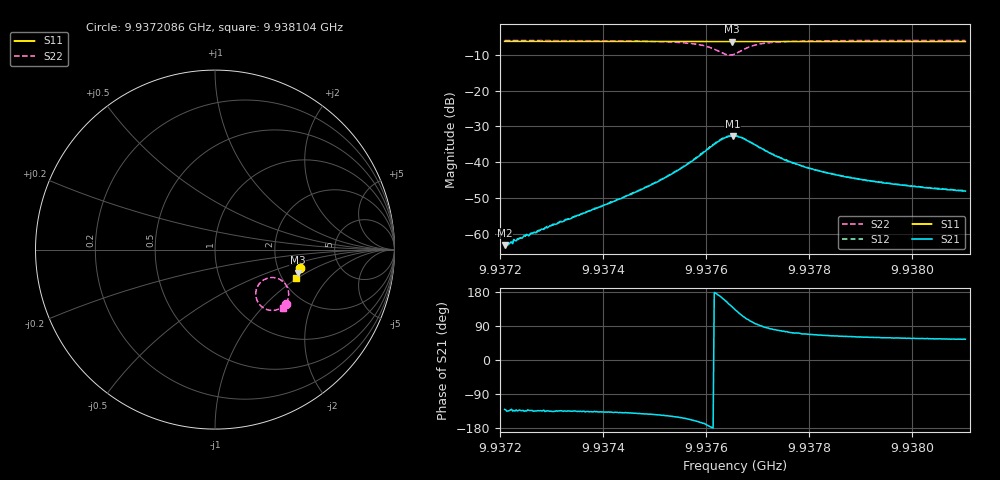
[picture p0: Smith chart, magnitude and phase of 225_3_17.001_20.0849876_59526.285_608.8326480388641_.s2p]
#  HZ  S  RI  R  50.00
! Rohde & Schwarz Vector Network Analyzer
! Rohde-Schwarz,ZNB20-2Port,1311601062101988,3.16
! Created: UTC 3/20/2024, 11:02:09 PM
! freq[Hz]  re:S11  im:S11  re:S21  im:S21  re:S12  im:S12  re:S22  im:S22
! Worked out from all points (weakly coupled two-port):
!   401 points, 9.9372086 GHz to 9.938104 GHz, reference 50 ohm
!   highest |S21| = -32.62 dB at 9.9376518 GHz (marker M1); lowest = -63.0 dB at 9.9372086 GHz (marker M2)
!   lowest |S11| = -6.4 dB at 9.9376496 GHz (marker M3), VSWR 2.84, Z = 126 - j41.9 ohm
!   |S11| at or under -10 dB: nowhere
!   |S22| runs from -10.1 to -6.1 dB; largest |S21 - S12| = 0.0011
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9.9372086e9  0.4733 -0.1006  -0.000459 -0.000538  -0.000498 -0.000467  0.3937 -0.3043
9.93721979e9  0.4731 -0.1015  -0.000508 -0.000567  -0.000553 -0.000549  0.393 -0.3053
9.93724889e9  0.4725 -0.1035  -0.00068 -0.000702  -0.000655 -0.000673  0.3905 -0.3076
9.93735857e9  0.4703 -0.1109  -0.00139 -0.00132  -0.00141 -0.00133  0.379 -0.3174
9.93743916e9  0.4686 -0.1163  -0.00245 -0.00211  -0.00249 -0.00212  0.3657 -0.3265
9.93750855e9  0.4668 -0.1209  -0.00449 -0.00317  -0.00465 -0.00314  0.3446 -0.3353
9.93755555e9  0.4656 -0.1244  -0.0077 -0.00386  -0.00791 -0.00385  0.3159 -0.3391
9.93759808e9  0.4637 -0.1271  -0.0139 -0.00271  -0.0142 -0.00237  0.2656 -0.3218
9.93761375e9  0.463 -0.128  -0.0174 -0.000156  -0.0178 0.000507  0.2413 -0.2969
9.93762942e9  0.4622 -0.1284  -0.02 0.00502  -0.0203 0.00581  0.2271 -0.2515
9.93764061e9  0.4617 -0.1286  -0.02 0.0102  -0.02 0.0111  0.2348 -0.2102
9.93764956e9  0.4616 -0.1285  -0.0182 0.0144  -0.0181 0.0153  0.256 -0.1804
9.9376518e9  0.4617 -0.1287  -0.0175 0.0155  -0.0174 0.0163  0.2632 -0.1743
9.93765628e9  0.4618 -0.1286  -0.0158 0.017  -0.0155 0.0177  0.2787 -0.1651
9.93766971e9  0.4621 -0.129  -0.0103 0.0195  -0.00954 0.0199  0.3274 -0.156
9.93768314e9  0.4624 -0.1299  -0.00523 0.0189  -0.00447 0.0192  0.3653 -0.1683
9.93770776e9  0.4626 -0.1319  -2.87e-05 0.0156  0.000634 0.0155  0.3996 -0.2042
9.93775477e9  0.4619 -0.1354  0.00286 0.0103  0.00308 0.0104  0.4104 -0.2511
9.93780625e9  0.4608 -0.1391  0.00314 0.00747  0.0033 0.00743  0.4063 -0.2768
9.93787788e9  0.4592 -0.1438  0.0029 0.00544  0.00304 0.00544  0.3985 -0.2954
9.93795622e9  0.4573 -0.1493  0.00266 0.00436  0.00273 0.0043  0.3908 -0.3077
9.93810395e9  0.4533 -0.1587  0.0023 0.00325  0.0024 0.00326  0.3792 -0.3226
